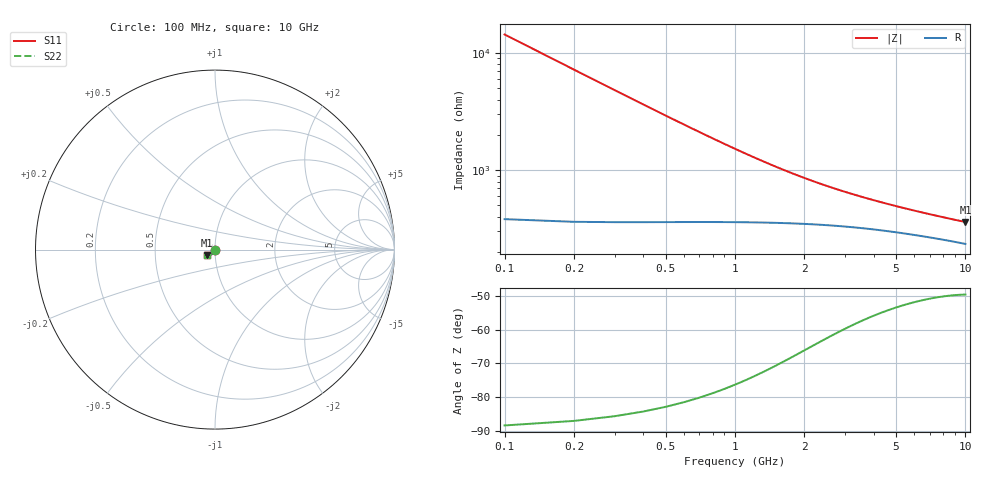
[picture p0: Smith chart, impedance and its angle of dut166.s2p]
! Touchstone file exported from HFSS 2024.1.0
!  File:  C:/UserFiles/LocalFiles/RDL_TSV_Batchsim/temp_TSV1_166_1778755766.aedt
!  Generated:  06:53:46 PM May 14, 2026
!  Design:  TSV1
!  Project:  temp_TSV1_166_1778755766
!  Setup:  Setup1
!  Solution:  Sweep
! Variables:
!  dtsv = 17.9um
!  hbump = 3um
!  htsv = 50.44um
!  lrdl = 252.1521522um
!  p = 40
!  p1 = 47.37um
!  t = 500um
!  trdl = 3um
!  wrdl = 24.89489489um
# GHz S MA R 50.000000
! Terminal data exported
! Port[1] = TSV22_T1
! Port[2] = TSV22_T2
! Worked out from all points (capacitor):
!   100 points, 100 MHz to 10 GHz, reference 50 ohm
!   read as one part in shunt: C = 110 fF near 100 MHz
!   lowest |Z| = 361 ohm at 10 GHz (marker M1)
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0.1  0.00152 -89.3  0.9999 -0.1  0.9999 -0.1  0.00152 -89.3
! Gamma 0 0 0 0
! Port Impedance 50 0 50 0
0.2  0.003033 -92.2  0.9998 -0.2  0.9998 -0.2  0.003033 -92.2
0.3  0.004537 -94.2  0.9995 -0.3  0.9995 -0.3  0.004537 -94.2
0.4  0.006025 -96.1  0.9992 -0.4  0.9992 -0.4  0.006025 -96.1
0.5  0.007493 -97.8  0.9988 -0.5  0.9988 -0.5  0.007493 -97.8
0.6  0.008938 -99.5  0.9984 -0.6  0.9984 -0.6  0.008938 -99.5
0.7  0.01035 -101.1  0.9978 -0.7  0.9978 -0.7  0.01035 -101.1
0.8  0.01174 -102.7  0.9972 -0.8  0.9972 -0.8  0.01174 -102.7
0.9  0.01309 -104.3  0.9965 -0.9  0.9965 -0.9  0.01309 -104.3
1.1  0.01568 -107.2  0.9951 -1.1  0.9951 -1.1  0.01568 -107.2
1.4  0.01928 -111.3  0.9927 -1.3  0.9927 -1.3  0.01928 -111.3
1.6  0.02147 -113.8  0.9911 -1.5  0.9911 -1.5  0.02147 -113.8
1.8  0.02351 -116.1  0.9894 -1.6  0.9894 -1.6  0.02351 -116.1
2.1  0.02628 -119.2  0.9869 -1.8  0.9869 -1.8  0.02628 -119.2
2.5  0.0295 -122.8  0.9839 -2.0  0.9839 -2.0  0.0295 -122.8
2.9  0.03228 -125.8  0.981 -2.1  0.981 -2.1  0.03228 -125.8
3.4  0.03525 -129.0  0.9778 -2.3  0.9778 -2.3  0.03525 -129.0
4.2  0.03915 -132.8  0.9734 -2.6  0.9734 -2.6  0.03915 -132.8
5.1  0.04269 -136.1  0.9693 -2.8  0.9693 -2.8  0.04269 -136.1
6.7  0.04759 -140.1  0.9635 -3.2  0.9635 -3.2  0.04759 -140.1
8.4  0.05151 -143.1  0.9589 -3.6  0.9589 -3.6  0.05151 -143.1
10  0.05434 -145.2  0.9556 -3.9  0.9556 -3.9  0.05434 -145.2
